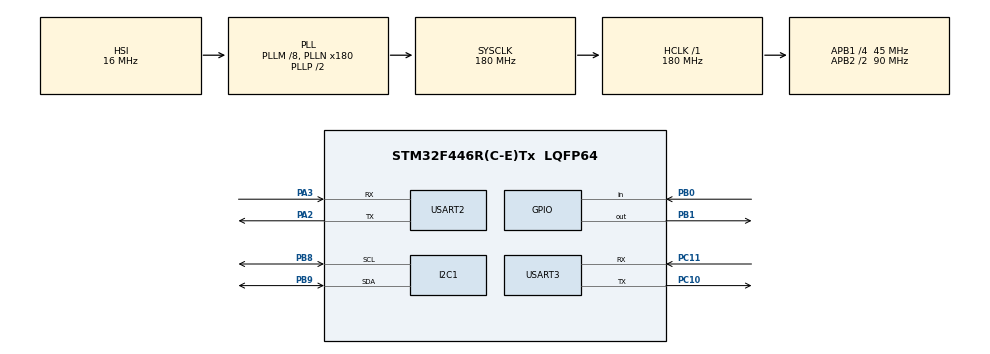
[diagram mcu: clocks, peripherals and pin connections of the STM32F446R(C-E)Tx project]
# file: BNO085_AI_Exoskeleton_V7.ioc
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I2C1.I2C_Mode=I2C_Standard
Mcu.Family=STM32F4
Mcu.Name=STM32F446R(C-E)Tx
Mcu.Package=LQFP64
NVIC.PriorityGroup=NVIC_PRIORITYGROUP_4
PA2.Mode=Asynchronous
PA2.Signal=USART2_TX
PA3.Mode=Asynchronous
PA3.Signal=USART2_RX
PB0.GPIO_PuPd=GPIO_NOPULL
PB0.Signal=GPIO_Input
PB1.Signal=GPIO_Output
PB8.GPIO_Pu=GPIO_PULLUP
PB8.Mode=I2C
PB8.Signal=I2C1_SCL
PB9.GPIO_Pu=GPIO_PULLUP
PB9.Mode=I2C
PB9.Signal=I2C1_SDA
PC10.Mode=Asynchronous
PC10.Signal=USART3_TX
PC11.Mode=Asynchronous
PC11.Signal=USART3_RX
ProjectManager.HeapSize=0x800
ProjectManager.StackSize=0x800
ProjectManager.TargetToolchain=STM32CubeIDE
RCC.AHBFreq_Value=180000000
RCC.APB1CLKDivider=RCC_HCLK_DIV4
RCC.APB1Freq_Value=45000000
RCC.APB1TimFreq_Value=90000000
RCC.APB2CLKDivider=RCC_HCLK_DIV2
RCC.APB2Freq_Value=90000000
RCC.APB2TimFreq_Value=180000000
RCC.CortexFreq_Value=180000000
RCC.FLatency-AdvancedSettings=FLASH_LATENCY_5
RCC.HCLKFreq_Value=180000000
RCC.PLLM=8
RCC.PLLN=180
RCC.PLLP=2
RCC.SYSCLKFreq_VALUE=180000000
RCC.SYSCLKSource=RCC_SYSCLKSOURCE_PLLCLK
RCC.USBFreq_Value=180000000
RCC.VCOOutputFreq_Value=360000000
STMicroelectronics.X-CUBE-AI.10.2.0.HeapSize=0x800
STMicroelectronics.X-CUBE-AI.10.2.0.LatestDirectoryUsed-76c36e797a1bfc2e11cc10b6eaab21426c563c017fa3d8bb1b8310d8f9f496d3=D\:\\Exoskeleton Trunk_program\\stm32_f446re\\BNO085_Second-stage neural network
STMicroelectronics.X-CUBE-AI.10.2.0.ModelActualCompression-76c36e797a1bfc2e11cc10b6eaab21426c563c017fa3d8bb1b8310d8f9f496d3=0.0
STMicroelectronics.X-CUBE-AI.10.2.0.ModelCompression-76c36e797a1bfc2e11cc10b6eaab21426c563c017fa3d8bb1b8310d8f9f496d3=None
STMicroelectronics.X-CUBE-AI.10.2.0.ModelFlashOccupation-76c36e797a1bfc2e11cc10b6eaab21426c563c017fa3d8bb1b8310d8f9f496d3=68980
STMicroelectronics.X-CUBE-AI.10.2.0.ModelHashList=76c36e797a1bfc2e11cc10b6eaab21426c563c017fa3d8bb1b8310d8f9f496d3
STMicroelectronics.X-CUBE-AI.10.2.0.ModelKind-76c36e797a1bfc2e11cc10b6eaab21426c563c017fa3d8bb1b8310d8f9f496d3=ONNX
STMicroelectronics.X-CUBE-AI.10.2.0.ModelMacc-76c36e797a1bfc2e11cc10b6eaab21426c563c017fa3d8bb1b8310d8f9f496d3=22266
STMicroelectronics.X-CUBE-AI.10.2.0.ModelName-76c36e797a1bfc2e11cc10b6eaab21426c563c017fa3d8bb1b8310d8f9f496d3=network
STMicroelectronics.X-CUBE-AI.10.2.0.ModelNameList=network
STMicroelectronics.X-CUBE-AI.10.2.0.ModelRamOccupation-76c36e797a1bfc2e11cc10b6eaab21426c563c017fa3d8bb1b8310d8f9f496d3=4708
STMicroelectronics.X-CUBE-AI.10.2.0.ModelStructureFile-76c36e797a1bfc2e11cc10b6eaab21426c563c017fa3d8bb1b8310d8f9f496d3=D\:\\Exoskeleton Trunk_program\\stm32_f446re\\BNO085_Second-stage neural network\\V7_MultiTask_Model_fix.onnx
STMicroelectronics.X-CUBE-AI.10.2.0.ModelType-76c36e797a1bfc2e11cc10b6eaab21426c563c017fa3d8bb1b8310d8f9f496d3=STM32Cube.AI MCU runtime
STMicroelectronics.X-CUBE-AI.10.2.0.StackSize=0x800
STMicroelectronics.X-CUBE-AI.10.2.0.WorkingBufferStartAddrList=0xFFFFFFFF
STMicroelectronics.X-CUBE-AI.10.2.0.XAaCUBEAaAICcArtificialOoIntelligenceJjCore=true
STMicroelectronics.X-CUBE-AI.10.2.0.copyWeightToRam=false
STMicroelectronics.X-CUBE-AI.10.2.0.customLayerConfigEnabled=false
STMicroelectronics.X-CUBE-AI.10.2.0.noOnnxIoTranspose=false
STMicroelectronics.X-CUBE-AI.10.2.0.useInputAllocation=true
STMicroelectronics.X-CUBE-AI.10.2.0.useOutputAllocation=true
USART2.VirtualMode=VM_ASYNC
USART3.VirtualMode=VM_ASYNC
VP_STMicroelectronics.X-CUBE-AI_VS_ArtificialOoIntelligenceJjXAaCUBEAaAI_10.2.0.Mode=ArtificialOoIntelligenceJjXAaCUBEAaAI
board=custom

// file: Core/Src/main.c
/* USER CODE BEGIN Header */
/**
  ******************************************************************************
  * @file           : main.c
  * @brief          : Main program body
  ******************************************************************************
  * @attention
  *
  * Copyright (c) 2026 STMicroelectronics.
  * All rights reserved.
  *
  * This software is licensed under terms that can be found in the LICENSE file
  * in the root directory of this software component.
  * If no LICENSE file comes with this software, it is provided AS-IS.
  *
  ******************************************************************************
  */
/* USER CODE END Header */
#include "main.h"

/* USER CODE BEGIN Includes */
#include <stdio.h>
#include <string.h>
#include <math.h>          // 新增：用來算 atan2 和 asin
#include "network.h"       // 🌟 載入 AI 神經網路標頭檔
#include "network_data.h"  // 🌟 載入 AI 權重資料
/* USER CODE END Includes */

/* USER CODE BEGIN PD */
#define BNO08x_ADDR (0x4B << 1) // STM32 I2C 地址需左移 1 位
/* USER CODE END PD */

I2C_HandleTypeDef hi2c1;

UART_HandleTypeDef huart2;
UART_HandleTypeDef huart3;

/* USER CODE BEGIN PV */
float roll = 0.0f, pitch = 0.0f, yaw = 0.0f;
uint8_t isStreaming = 0;
uint32_t lastCmdTick = 0;

// BNO085 啟動指令 (要求 20Hz 回報 Rotation Vector)
uint8_t setFeatureCmd[21] = {
    21, 0, 2, 0,
    0xFD, 0x05, 0, 0, 0,
    0x50, 0xC3, 0x00, 0x00,
    0, 0, 0, 0, 0, 0, 0, 0
};

// 🌟 AI 相關全域變數
ai_handle network_handle = AI_HANDLE_NULL;
ai_u8 activations[AI_NETWORK_DATA_ACTIVATIONS_SIZE];

// AI 輸入緩衝區 (6 個特徵 * 10 個時間點 = 60)
float my_ai_in[60];
ai_buffer *ptr_ai_in;

// V7 AI 輸出緩衝區 (3 個任務)
float out_move_buf[2];   // 移動 (2分類)
float out_bend_buf[7];   // 彎腰 (7分類)
float out_speed_buf[3];  // 速度 (3分類)
ai_buffer *ptr_ai_out;

// 滑動視窗陣列 (Window Size = 10)
float temp_pitch[10], temp_dpitch[10];
float temp_roll[10],  temp_droll[10];
float temp_yaw[10],   temp_dyaw[10];

// 歸零基準與前一幀數值
float p_base = 0, r_base = 0, y_base = 0;
float last_p = 0, last_r = 0, last_y = 0;
int window_index = 0;
int is_tared = 0; // 0=未歸零, 1=已歸零
/* USER CODE END PV */

void SystemClock_Config(void);
static void MX_GPIO_Init(void);
static void MX_I2C1_Init(void);
static void MX_USART2_UART_Init(void);
static void MX_USART3_UART_Init(void);

/* USER CODE BEGIN 0 */
int _write(int file, char *ptr, int len) {
    // 透過 USART2 把字元一個一個推給電腦
    HAL_UART_Transmit(&huart2, (uint8_t *)ptr, len, 100);
    return len;
}
/* USER CODE END 0 */

int main(void)
{

  /* MCU Configuration--------------------------------------------------------*/

  /* Reset of all peripherals, Initializes the Flash interface and the Systick. */
  HAL_Init();

  /* Configure the system clock */
  SystemClock_Config();

  /* Initialize all configured peripherals */
  MX_GPIO_Init();
  MX_I2C1_Init();
  MX_USART2_UART_Init();
  MX_USART3_UART_Init();
  /* USER CODE BEGIN 2 */

  HAL_Delay(1000);
    printf("\r\n=== BNO085 姿態解算啟動 ===\r\n");
    // 🌟 初始化 V7 AI 大腦
      ai_error ai_err;
      ai_network_params ai_params = AI_NETWORK_PARAMS_INIT(
          AI_NETWORK_DATA_WEIGHTS(ai_network_data_weights_get()),
          AI_NETWORK_DATA_ACTIVATIONS(activations)
      );

      ai_err = ai_network_create(&network_handle, AI_NETWORK_DATA_CONFIG);
      if (ai_err.type != AI_ERROR_NONE) {
          printf("AI 建立失敗! 錯誤碼: %d\r\n", ai_err.code);
          while(1);
      }
      if (!ai_network_init(network_handle, &ai_params)) {
          printf("AI 初始化失敗!\r\n");
          while(1);
      }
      printf("-> AI 神經網路 V7 載入成功！\r\n");

      // 🌟 安全的 AI 輸出入指標綁定寫法
            ptr_ai_in = ai_network_inputs_get(network_handle, NULL);
            ptr_ai_out = ai_network_outputs_get(network_handle, NULL);

            // 將我們的陣列綁定給 AI 大腦的輸入/輸出
            ptr_ai_in[0].data = AI_HANDLE_PTR(my_ai_in);

            ptr_ai_out[0].data = AI_HANDLE_PTR(out_move_buf);
            ptr_ai_out[1].data = AI_HANDLE_PTR(out_bend_buf);
            ptr_ai_out[2].data = AI_HANDLE_PTR(out_speed_buf);

    // 硬體重置 BNO085
    HAL_GPIO_WritePin(GPIOB, GPIO_PIN_1, GPIO_PIN_RESET);
    HAL_Delay(50);
    HAL_GPIO_WritePin(GPIOB, GPIO_PIN_1, GPIO_PIN_SET);
    HAL_Delay(500);

    if (HAL_I2C_IsDeviceReady(&hi2c1, BNO08x_ADDR, 5, 100) == HAL_OK) {
        printf("-> BNO085 (0x4B) 連線成功！準備接收資料...\r\n");
    }
  /* USER CODE END 2 */

    /* Infinite loop */
      /* USER CODE BEGIN WHILE */
      while (1)
      {
          // --- 任務 A：自動喚醒機制 ---
          if (isStreaming == 0 && (HAL_GetTick() - lastCmdTick > 2000)) {
              printf("-> 發送啟動指令給 BNO085...\r\n");
              HAL_I2C_Master_Transmit(&hi2c1, BNO08x_ADDR, setFeatureCmd, 21, 100);
              lastCmdTick = HAL_GetTick();
          }

          // --- 任務 B：資料接收與解算 ---
          if (HAL_GPIO_ReadPin(GPIOB, GPIO_PIN_0) == GPIO_PIN_RESET)
          {
              uint8_t header[4];
              if (HAL_I2C_Master_Receive(&hi2c1, BNO08x_ADDR, header, 4, 100) == HAL_OK)
              {
                  uint16_t length = ((header[1] << 8) | header[0]) & 0x7FFF;
                  uint8_t channel = header[2];

                  if (length > 0 && length <= 512)
                  {
                      uint8_t shtpData[512];
                      if (HAL_I2C_Master_Receive(&hi2c1, BNO08x_ADDR, shtpData, length, 100) == HAL_OK)
                      {
                          // 判斷是否為 Rotation Vector (通道 3, 且 Feature ID 為 0x05)
                          if (channel == 3 && shtpData[9] == 0x05)
                          {
                              isStreaming = 1;

                              // 1. 提取四元數
                              int16_t i_raw = (shtpData[14] << 8) | shtpData[13];
                              int16_t j_raw = (shtpData[16] << 8) | shtpData[15];
                              int16_t k_raw = (shtpData[18] << 8) | shtpData[17];
                              int16_t r_raw = (shtpData[20] << 8) | shtpData[19];

                              float qI = (float)i_raw / 16384.0f;
                              float qJ = (float)j_raw / 16384.0f;
                              float qK = (float)k_raw / 16384.0f;
                              float qR = (float)r_raw / 16384.0f;

                              // 🌟 物理修正：Y 軸與 Z 軸互換 (徹底解決站立時的 Roll/Yaw 暴衝)
                              float temp_q = qJ;
                              qJ = qK;
                              qK = -temp_q;

                              // 2. 四元數轉歐拉角
                              float sqI = qI * qI, sqJ = qJ * qJ, sqK = qK * qK;
                              float roll_rad  = atan2(2.0f * (qR * qI + qJ * qK), 1.0f - 2.0f * (sqI + sqJ));
                              float pitch_rad = asin(2.0f * (qR * qJ - qK * qI));
                              float yaw_rad   = atan2(2.0f * (qR * qK + qI * qJ), 1.0f - 2.0f * (sqJ + sqK));

                              roll  = roll_rad  * 180.0f / 3.14159265f;
                              pitch = pitch_rad * 180.0f / 3.14159265f;
                              yaw   = yaw_rad   * 180.0f / 3.14159265f;

                              // 3. 自動歸零 (捕捉前 10 幀當作基準)
                              if (!is_tared) {
                                  p_base += pitch; r_base += roll; y_base += yaw;
                                  window_index++;
                                  if (window_index >= 10) {
                                      p_base /= 10.0f; r_base /= 10.0f; y_base /= 10.0f;
                                      is_tared = 1; window_index = 0;
                                      printf("-> 歸零完成！ P:%.1f R:%.1f Y:%.1f\r\n", p_base, r_base, y_base);
                                  }
                                  continue;
                              }

                              // 🌟 關鍵修正：將 p_norm 等變數宣告在這裡，確保後面的 if 區塊都看得到它們
                              float p_norm = pitch - p_base;
                              float r_norm = roll - r_base;
                              float y_norm = yaw - y_base;

                              // 確保前彎為正數
                              if (p_norm < 0) p_norm = -p_norm;

                              float dp = p_norm - last_p;
                              float dr = r_norm - last_r;
                              float dy = y_norm - last_y;
                              last_p = p_norm; last_r = r_norm; last_y = y_norm;

                              // 4. 推入 FIFO 滑動視窗 (Window Size = 10)
                              for (int i = 0; i < 9; i++) {
                                  temp_pitch[i] = temp_pitch[i+1]; temp_dpitch[i] = temp_dpitch[i+1];
                                  temp_roll[i]  = temp_roll[i+1];  temp_droll[i]  = temp_droll[i+1];
                                  temp_yaw[i]   = temp_yaw[i+1];   temp_dyaw[i]   = temp_dyaw[i+1];
                              }
                              temp_pitch[9] = p_norm; temp_dpitch[9] = dp;
                              temp_roll[9]  = r_norm; temp_droll[9]  = dr;
                              temp_yaw[9]   = y_norm; temp_dyaw[9]   = dy;

                              window_index++;

                              // 5. 執行 V7 AI 推論！
                              if (window_index >= 10) {
                                  // 資料排成 Channel-First
                                  for(int i=0; i<10; i++) my_ai_in[i]      = temp_pitch[i];
                                  for(int i=0; i<10; i++) my_ai_in[10 + i] = temp_dpitch[i];
                                  for(int i=0; i<10; i++) my_ai_in[20 + i] = temp_roll[i];
                                  for(int i=0; i<10; i++) my_ai_in[30 + i] = temp_droll[i];
                                  for(int i=0; i<10; i++) my_ai_in[40 + i] = temp_yaw[i];
                                  for(int i=0; i<10; i++) my_ai_in[50 + i] = temp_dyaw[i];

                                  if (ai_network_run(network_handle, ptr_ai_in, ptr_ai_out) == 1) {
                                      // 解碼 L1 移動 (2分類)
                                      int L1_Move = (out_move_buf[0] > out_move_buf[1]) ? 0 : 1;

                                      // 解碼 L2 彎腰 (🌟 7分類：Stand, Down, Up, Hold, Slt-B, L-Bnd, R-Bnd)
                                      int L2_Bend = 0; float max_b = out_bend_buf[0];
                                      for(int j=1; j<7; j++) {
                                          if(out_bend_buf[j] > max_b) { max_b = out_bend_buf[j]; L2_Bend = j; }
                                      }

                                      // 解碼 L4 速度 (3分類)
                                      int L4_Speed = 0; float max_s = out_speed_buf[0];
                                      for(int j=1; j<3; j++) {
                                          if(out_speed_buf[j] > max_s) { max_s = out_speed_buf[j]; L4_Speed = j; }
                                      }

                                      // 定義動作名稱字串
                                      char* bend_names[7] = {"Stand", "Down ", "Up   ", "Hold ", "Slt-B", "L-Bnd", "R-Bnd"};

                                      // 🌟 最終輸出 (移除羅盤顯示，聚焦姿態與 AI 結果)
                                      printf("Mv:%d | Bnd:%s | Spd:%d || P:%5.1f R:%5.1f\r\n",
                                             L1_Move, bend_names[L2_Bend], L4_Speed, p_norm, r_norm);
                                  }
                              }
                          }
                      }
                  }
              }
          }
        /* USER CODE END WHILE */

  }
}

void SystemClock_Config(void)
{
  RCC_OscInitTypeDef RCC_OscInitStruct = {0};
  RCC_ClkInitTypeDef RCC_ClkInitStruct = {0};

  /** Configure the main internal regulator output voltage
  */
  __HAL_RCC_PWR_CLK_ENABLE();
  __HAL_PWR_VOLTAGESCALING_CONFIG(PWR_REGULATOR_VOLTAGE_SCALE1);

  /** Initializes the RCC Oscillators according to the specified parameters
  * in the RCC_OscInitTypeDef structure.
  */
  RCC_OscInitStruct.OscillatorType = RCC_OSCILLATORTYPE_HSI;
  RCC_OscInitStruct.HSIState = RCC_HSI_ON;
  RCC_OscInitStruct.HSICalibrationValue = RCC_HSICALIBRATION_DEFAULT;
  RCC_OscInitStruct.PLL.PLLState = RCC_PLL_ON;
  RCC_OscInitStruct.PLL.PLLSource = RCC_PLLSOURCE_HSI;
  RCC_OscInitStruct.PLL.PLLM = 8;
  RCC_OscInitStruct.PLL.PLLN = 180;
  RCC_OscInitStruct.PLL.PLLP = 2;
  RCC_OscInitStruct.PLL.PLLQ = 2;
  RCC_OscInitStruct.PLL.PLLR = 2;
  if (HAL_RCC_OscConfig(&RCC_OscInitStruct) != HAL_OK)
  {
    Error_Handler();
  }

  /** Activate the Over-Drive mode
  */
  if (HAL_PWREx_EnableOverDrive() != HAL_OK)
  {
    Error_Handler();
  }

  /** Initializes the CPU, AHB and APB buses clocks
  */
  RCC_ClkInitStruct.ClockType = RCC_CLOCKTYPE_HCLK|RCC_CLOCKTYPE_SYSCLK
                              |RCC_CLOCKTYPE_PCLK1|RCC_CLOCKTYPE_PCLK2;
  RCC_ClkInitStruct.SYSCLKSource = RCC_SYSCLKSOURCE_PLLCLK;
  RCC_ClkInitStruct.AHBCLKDivider = RCC_SYSCLK_DIV1;
  RCC_ClkInitStruct.APB1CLKDivider = RCC_HCLK_DIV4;
  RCC_ClkInitStruct.APB2CLKDivider = RCC_HCLK_DIV2;

  if (HAL_RCC_ClockConfig(&RCC_ClkInitStruct, FLASH_LATENCY_5) != HAL_OK)
  {
    Error_Handler();
  }
}

static void MX_I2C1_Init(void)
{

  hi2c1.Instance = I2C1;
  hi2c1.Init.ClockSpeed = 100000;
  hi2c1.Init.DutyCycle = I2C_DUTYCYCLE_2;
  hi2c1.Init.OwnAddress1 = 0;
  hi2c1.Init.AddressingMode = I2C_ADDRESSINGMODE_7BIT;
  hi2c1.Init.DualAddressMode = I2C_DUALADDRESS_DISABLE;
  hi2c1.Init.OwnAddress2 = 0;
  hi2c1.Init.GeneralCallMode = I2C_GENERALCALL_DISABLE;
  hi2c1.Init.NoStretchMode = I2C_NOSTRETCH_DISABLE;
  if (HAL_I2C_Init(&hi2c1) != HAL_OK)
  {
    Error_Handler();
  }

}

static void MX_USART2_UART_Init(void)
{

  huart2.Instance = USART2;
  huart2.Init.BaudRate = 115200;
  huart2.Init.WordLength = UART_WORDLENGTH_8B;
  huart2.Init.StopBits = UART_STOPBITS_1;
  huart2.Init.Parity = UART_PARITY_NONE;
  huart2.Init.Mode = UART_MODE_TX_RX;
  huart2.Init.HwFlowCtl = UART_HWCONTROL_NONE;
  huart2.Init.OverSampling = UART_OVERSAMPLING_16;
  if (HAL_UART_Init(&huart2) != HAL_OK)
  {
    Error_Handler();
  }

}

static void MX_USART3_UART_Init(void)
{

  huart3.Instance = USART3;
  huart3.Init.BaudRate = 115200;
  huart3.Init.WordLength = UART_WORDLENGTH_8B;
  huart3.Init.StopBits = UART_STOPBITS_1;
  huart3.Init.Parity = UART_PARITY_NONE;
  huart3.Init.Mode = UART_MODE_TX_RX;
  huart3.Init.HwFlowCtl = UART_HWCONTROL_NONE;
  huart3.Init.OverSampling = UART_OVERSAMPLING_16;
  if (HAL_UART_Init(&huart3) != HAL_OK)
  {
    Error_Handler();
  }

}

static void MX_GPIO_Init(void)
{
  GPIO_InitTypeDef GPIO_InitStruct = {0};

  /* GPIO Ports Clock Enable */
  __HAL_RCC_GPIOA_CLK_ENABLE();
  __HAL_RCC_GPIOB_CLK_ENABLE();
  __HAL_RCC_GPIOC_CLK_ENABLE();

  /*Configure GPIO pin Output Level */
  HAL_GPIO_WritePin(GPIOB, GPIO_PIN_1, GPIO_PIN_RESET);

  /*Configure GPIO pin : PB0 */
  GPIO_InitStruct.Pin = GPIO_PIN_0;
  GPIO_InitStruct.Mode = GPIO_MODE_INPUT;
  GPIO_InitStruct.Pull = GPIO_NOPULL;
  HAL_GPIO_Init(GPIOB, &GPIO_InitStruct);

  /*Configure GPIO pin : PB1 */
  GPIO_InitStruct.Pin = GPIO_PIN_1;
  GPIO_InitStruct.Mode = GPIO_MODE_OUTPUT_PP;
  GPIO_InitStruct.Pull = GPIO_NOPULL;
  GPIO_InitStruct.Speed = GPIO_SPEED_FREQ_LOW;
  HAL_GPIO_Init(GPIOB, &GPIO_InitStruct);

}

void Error_Handler(void)
{
  __disable_irq();
  while (1)
  {
  }
}
